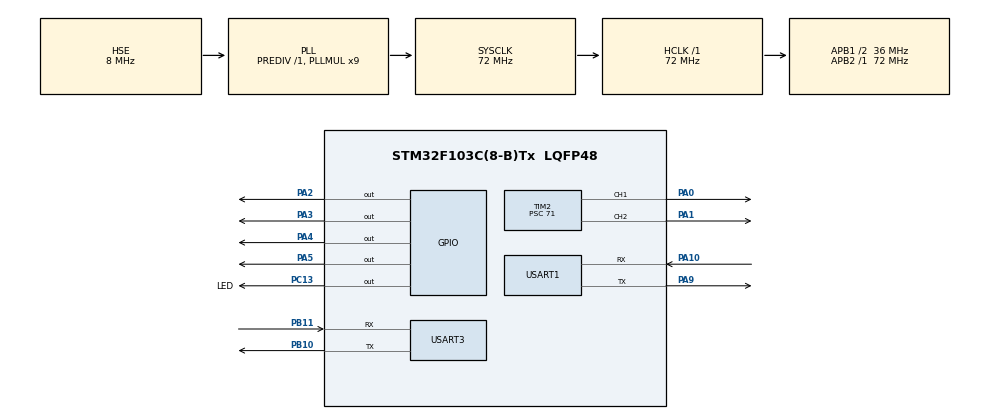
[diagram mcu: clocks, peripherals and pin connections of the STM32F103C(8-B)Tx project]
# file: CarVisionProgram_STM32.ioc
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Mcu.Family=STM32F1
Mcu.Name=STM32F103C(8-B)Tx
Mcu.Package=LQFP48
NVIC.PriorityGroup=NVIC_PRIORITYGROUP_4
NVIC.USART1_IRQn=true\:0\:0\:false\:false\:true\:true\:true\:true
NVIC.USART3_IRQn=true\:0\:0\:false\:false\:true\:true\:true\:true
PA0-WKUP.Signal=S_TIM2_CH1_ETR
PA1.Signal=S_TIM2_CH2
PA10.Mode=Asynchronous
PA10.Signal=USART1_RX
PA13.Mode=Serial_Wire
PA13.Signal=SYS_JTMS-SWDIO
PA14.Mode=Serial_Wire
PA14.Signal=SYS_JTCK-SWCLK
PA2.Signal=GPIO_Output
PA3.Signal=GPIO_Output
PA4.Signal=GPIO_Output
PA5.Signal=GPIO_Output
PA9.Mode=Asynchronous
PA9.Signal=USART1_TX
PB10.Mode=Asynchronous
PB10.Signal=USART3_TX
PB11.Mode=Asynchronous
PB11.Signal=USART3_RX
PC13-TAMPER-RTC.GPIO_Label=LED
PC13-TAMPER-RTC.PinState=GPIO_PIN_SET
PC13-TAMPER-RTC.Signal=GPIO_Output
PD0-OSC_IN.Mode=HSE-External-Oscillator
PD0-OSC_IN.Signal=RCC_OSC_IN
PD1-OSC_OUT.Mode=HSE-External-Oscillator
PD1-OSC_OUT.Signal=RCC_OSC_OUT
ProjectManager.HeapSize=0x200
ProjectManager.StackSize=0x400
ProjectManager.TargetToolchain=STM32CubeIDE
RCC.AHBFreq_Value=72000000
RCC.APB1CLKDivider=RCC_HCLK_DIV2
RCC.APB1Freq_Value=36000000
RCC.APB1TimFreq_Value=72000000
RCC.APB2Freq_Value=72000000
RCC.APB2TimFreq_Value=72000000
RCC.HCLKFreq_Value=72000000
RCC.PLLMUL=RCC_PLL_MUL9
RCC.PLLSourceVirtual=RCC_PLLSOURCE_HSE
RCC.SYSCLKFreq_VALUE=72000000
RCC.SYSCLKSource=RCC_SYSCLKSOURCE_PLLCLK
RCC.USBFreq_Value=72000000
SH.S_TIM2_CH1_ETR.0=TIM2_CH1,PWM Generation1 CH1
SH.S_TIM2_CH2.0=TIM2_CH2,PWM Generation2 CH2
TIM2.Channel-PWM\ Generation1\ CH1=TIM_CHANNEL_1
TIM2.Channel-PWM\ Generation2\ CH2=TIM_CHANNEL_2
TIM2.Period=999
TIM2.Prescaler=71
USART1.VirtualMode=VM_ASYNC
USART3.VirtualMode=VM_ASYNC
board=custom

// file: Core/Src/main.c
/* USER CODE BEGIN Header */
/**
  ******************************************************************************
  * @file           : main.c
  * @brief          : Main program body
  ******************************************************************************
  * @attention
  *
  * Copyright (c) 2025 STMicroelectronics.
  * All rights reserved.
  *
  * This software is licensed under terms that can be found in the LICENSE file
  * in the root directory of this software component.
  * If no LICENSE file comes with this software, it is provided AS-IS.
  *
  ******************************************************************************
  */
/* USER CODE END Header */
#include "main.h"
#include "tim.h"
#include "usart.h"
#include "gpio.h"

/* USER CODE BEGIN Includes */
#include "../../User/Inc/motor.h"
#include "stdio.h"
#include "string.h"
#include "stm32f103xb.h"
/* USER CODE END Includes */

void SystemClock_Config(void);
/* USER CODE BEGIN PFP */
void SendText(const char *text) {
  HAL_UART_Transmit(&huart1,(uint8_t *)text,strlen(text),HAL_MAX_DELAY);
}

int fputc(int ch, FILE *f)
{
  HAL_UART_Transmit(&huart1, (uint8_t *)&ch, 1, HAL_MAX_DELAY);
  //while(__HAL_UART_GET_FLAG(&huart1,UART_FLAG_TC)!=SET);
  //while ((USART1->SR & 0X40) == 0);
  //USART1->DR = (uint8_t) ch;
  return ch;
}
/* USER CODE END PFP */

int main(void)
{

  /* USER CODE BEGIN 1 */
  char message[64];
  sprintf(message, "程序启动！");
  SendText(message);
  char buffer[64];
  /* USER CODE END 1 */

  /* MCU Configuration--------------------------------------------------------*/

  /* Reset of all peripherals, Initializes the Flash interface and the Systick. */
  HAL_Init();

  /* USER CODE BEGIN Init */
  Motor_Init();
  /* USER CODE END Init */

  /* Configure the system clock */
  SystemClock_Config();

  /* Initialize all configured peripherals */
  MX_GPIO_Init();
  MX_TIM2_Init();
  MX_USART1_UART_Init();
  MX_USART3_UART_Init();

  /* Infinite loop */
  /* USER CODE BEGIN WHILE */
  while (1)
  {

    //HAL_Delay(1000);
    HAL_GPIO_WritePin(LED_GPIO_Port, LED_Pin, GPIO_PIN_RESET);
    HAL_Delay(100);
    HAL_GPIO_WritePin(LED_GPIO_Port, LED_Pin, GPIO_PIN_SET);
    HAL_Delay(100);
    //printf("Hello from STM32\r\n");
    if (uart1_rx_flag) {
      uart1_rx_flag = 0;
      switch (uart1_rx_data) {
        case 'Obstacle Detected':
          //速度
          Motor_SetSpeed(2, 0);
          Motor_SetSpeed(1, 0);
          //方向
          Motor_SetDirection(1, 1);
          Motor_SetDirection(2, 0);

          sprintf(buffer, "Motor1 Dir: %d, Speed: %d\r\n", motor1_dir, motor1_pwm);
          SendText(buffer);
          break;
        case 'CLEAR':
          Motor_SetDirection(2, 0);
          Motor_SetSpeed(2, 800);// 电机2 反转 80%
          sprintf(buffer, "Motor2 Dir: %d, Speed: %d\r\n", motor2_dir, motor2_pwm);
          SendText(buffer);
          break;
        case 'S':Motor_SetSpeed(1, 0);// 停止电机
          break;
        case 'P':Motor_SetSpeed(2, 0);
          break;
      }
      HAL_UART_Transmit(&huart3, &uart1_rx_data, 1, 100);
    }

    // 打印电机1状态
    //sprintf(buffer, "Motor1 Dir: %d, Speed: %d\r\n", motor1_dir, motor1_pwm);
    //SendText(buffer);
    //HAL_Delay(1000);  // 每秒更新一次

    // 打印电机2状态
    //sprintf(buffer, "Motor2 Dir: %d, Speed: %d\r\n", motor2_dir, motor2_pwm);
    //SendText(buffer);
    //HAL_Delay(2000);
    const char* ssid = "CU_Mxn3";
    const char* password = "3cj5swaf";

    HAL_Delay(1000);

    /* USER CODE END WHILE */

  }
}

void SystemClock_Config(void)
{
  RCC_OscInitTypeDef RCC_OscInitStruct = {0};
  RCC_ClkInitTypeDef RCC_ClkInitStruct = {0};

  /** Initializes the RCC Oscillators according to the specified parameters
  * in the RCC_OscInitTypeDef structure.
  */
  RCC_OscInitStruct.OscillatorType = RCC_OSCILLATORTYPE_HSE;
  RCC_OscInitStruct.HSEState = RCC_HSE_ON;
  RCC_OscInitStruct.HSEPredivValue = RCC_HSE_PREDIV_DIV1;
  RCC_OscInitStruct.HSIState = RCC_HSI_ON;
  RCC_OscInitStruct.PLL.PLLState = RCC_PLL_ON;
  RCC_OscInitStruct.PLL.PLLSource = RCC_PLLSOURCE_HSE;
  RCC_OscInitStruct.PLL.PLLMUL = RCC_PLL_MUL9;
  if (HAL_RCC_OscConfig(&RCC_OscInitStruct) != HAL_OK)
  {
    Error_Handler();
  }

  /** Initializes the CPU, AHB and APB buses clocks
  */
  RCC_ClkInitStruct.ClockType = RCC_CLOCKTYPE_HCLK|RCC_CLOCKTYPE_SYSCLK
                              |RCC_CLOCKTYPE_PCLK1|RCC_CLOCKTYPE_PCLK2;
  RCC_ClkInitStruct.SYSCLKSource = RCC_SYSCLKSOURCE_PLLCLK;
  RCC_ClkInitStruct.AHBCLKDivider = RCC_SYSCLK_DIV1;
  RCC_ClkInitStruct.APB1CLKDivider = RCC_HCLK_DIV2;
  RCC_ClkInitStruct.APB2CLKDivider = RCC_HCLK_DIV1;

  if (HAL_RCC_ClockConfig(&RCC_ClkInitStruct, FLASH_LATENCY_2) != HAL_OK)
  {
    Error_Handler();
  }
}

void Error_Handler(void)
{
  __disable_irq();
  while (1)
  {
  }
}
